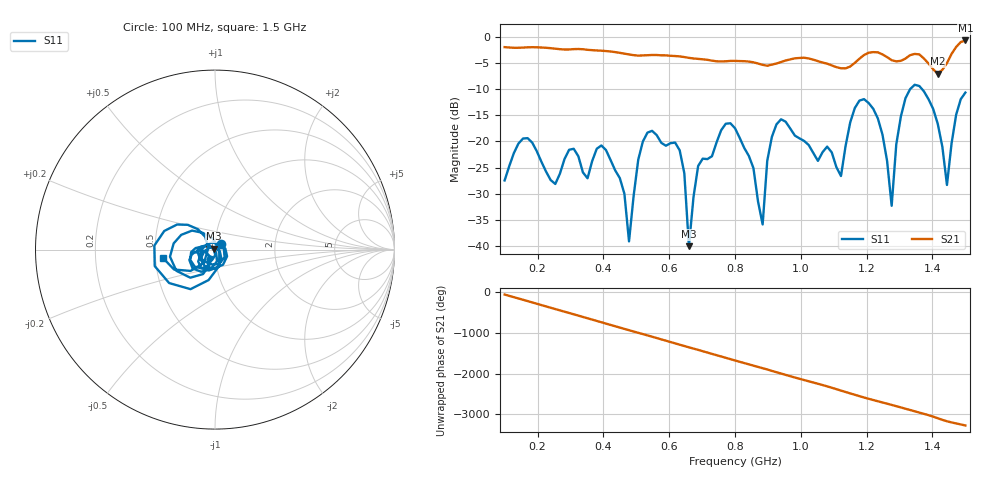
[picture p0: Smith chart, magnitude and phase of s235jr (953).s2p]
! NanoVNA-App
! Date: 2025-09-25 15:11:35
! Start: 100MHz Stop: 1,5GHz Points: 101
! S-Parameter data: F S11 S21 S12 S22
# Hz S RI R 50
!  Frequency  S11_Real  S11_Imag  S21_Real  S21_Imag  S12_Real  S12_Imag  S22_Real  S22_Imag
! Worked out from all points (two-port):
!   101 points, 100 MHz to 1.5 GHz, reference 50 ohm
!   highest |S21| = -0.69 dB at 1.5 GHz (marker M1); lowest = -7.1 dB at 1.416 GHz (marker M2)
!   |S21| within 3 dB of the highest: start of sweep to 621.8 MHz; 1.188 GHz to 1.257 GHz (69.13 MHz wide, 5.66 % of centre) (the widest 2 of 4)
!   lowest |S11| = -40.0 dB at 660 MHz (marker M3), VSWR 1.02, Z = 49.2 + j0.562 ohm
!   |S11| at or under -10 dB: start of sweep to 1.332 GHz; 1.368 GHz to end of sweep
!   S12 and S22 are empty: the file has one direction only
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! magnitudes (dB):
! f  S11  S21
! 100 MHz  -27.5  -2.0
! 156 MHz  -19.4  -2.1
! 338 MHz  -25.9  -2.4
! 408 MHz  -21.7  -2.7
! 478 MHz  -39.1  -3.4
! 520 MHz  -20.0  -3.5
! 576 MHz  -20.3  -3.5
! 632 MHz  -21.7  -3.7
! 660 MHz  -40.0  -4.0
! 688 MHz  -24.7  -4.2
! 800 MHz  -17.5  -4.6
! 884 MHz  -35.9  -5.4
! 926 MHz  -16.7  -5.1
! 1.038 GHz  -22.2  -4.4
! 1.122 GHz  -26.6  -6.0
! 1.192 GHz  -11.9  -3.5
! 1.248 GHz  -18.7  -3.4
! 1.276 GHz  -32.3  -4.5
! 1.332 GHz  -10.0  -3.5
! 1.416 GHz  -16.6  -7.1
! 1.444 GHz  -28.3  -5.0
! 1.5 GHz  -10.7  -0.7
